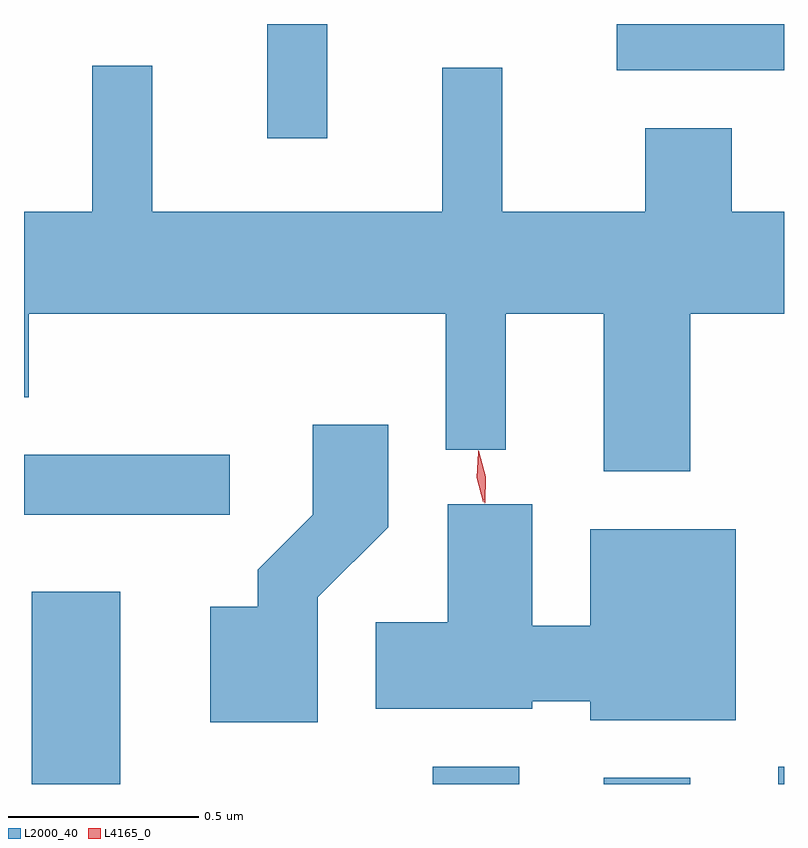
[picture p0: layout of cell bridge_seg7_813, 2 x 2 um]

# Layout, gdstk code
import gdstk
lib = gdstk.Library(unit=1e-6, precision=1e-09)
def R(c, l, rs):  # rectangles x0, y0, x1, y1
    for r in rs: c.add(gdstk.rectangle(r[:2], r[2:], *l))
def P(c, l, *ps):  # polygons
    for p in ps: c.add(gdstk.Polygon(p, *l))
L2000_40 = (2000, 40)
L4165_0 = (4165, 0)

bridge_seg7_813 = lib.new_cell('bridge_seg7_813')
R(bridge_seg7_813, L2000_40, [(208.266,1799.658,208.499,1800.164), (209.321,1799.658,209.549,1799.704), (209.771,1799.658,209.999,1799.674), (210.231,1799.658,210.246,1799.704), (208.246,1800.366,208.788,1800.524), (208.886,1801.358,209.044,1801.658), (209.806,1801.536,210.246,1801.658)])
P(bridge_seg7_813, L2000_40, [(209.999,1800.896),(210.246,1800.896),(210.246,1801.164),(210.109,1801.164),(210.109,1801.384),(209.881,1801.384),(209.881,1801.164),(209.504,1801.164),(209.504,1801.543),(209.346,1801.543),(209.346,1801.164),(208.584,1801.164),(208.584,1801.548),(208.426,1801.548),(208.426,1801.164),(208.246,1801.164),(208.246,1800.676),(208.259,1800.676),(208.259,1800.896),(209.356,1800.896),(209.356,1800.538),(209.514,1800.538),(209.514,1800.896),(209.771,1800.896),(209.771,1800.481),(209.999,1800.481)],
  [(209.019,1800.149),(209.204,1800.334),(209.204,1800.604),(209.006,1800.604),(209.006,1800.367),(208.861,1800.222),(208.861,1800.124),(208.736,1800.124),(208.736,1799.821),(209.019,1799.821)],
  [(210.119,1800.329),(209.736,1800.329),(209.736,1800.074),(209.584,1800.074),(209.584,1800.394),(209.361,1800.394),(209.361,1800.084),(209.171,1800.084),(209.171,1799.856),(209.584,1799.856),(209.584,1799.876),(209.736,1799.876),(209.736,1799.826),(210.119,1799.826)])
P(bridge_seg7_813, L4165_0, [(209.454,1800.399),(209.454,1800.4),(209.438,1800.464),(209.441,1800.531),(209.441,1800.531),(209.442,1800.531),(209.458,1800.466),(209.455,1800.4)],
  [(209.459,1800.397),(209.459,1800.398),(209.441,1800.465),(209.442,1800.535),(209.443,1800.535),(209.443,1800.535),(209.461,1800.467),(209.46,1800.398)])

lib.write_gds('bridge_seg7_813.gds')
